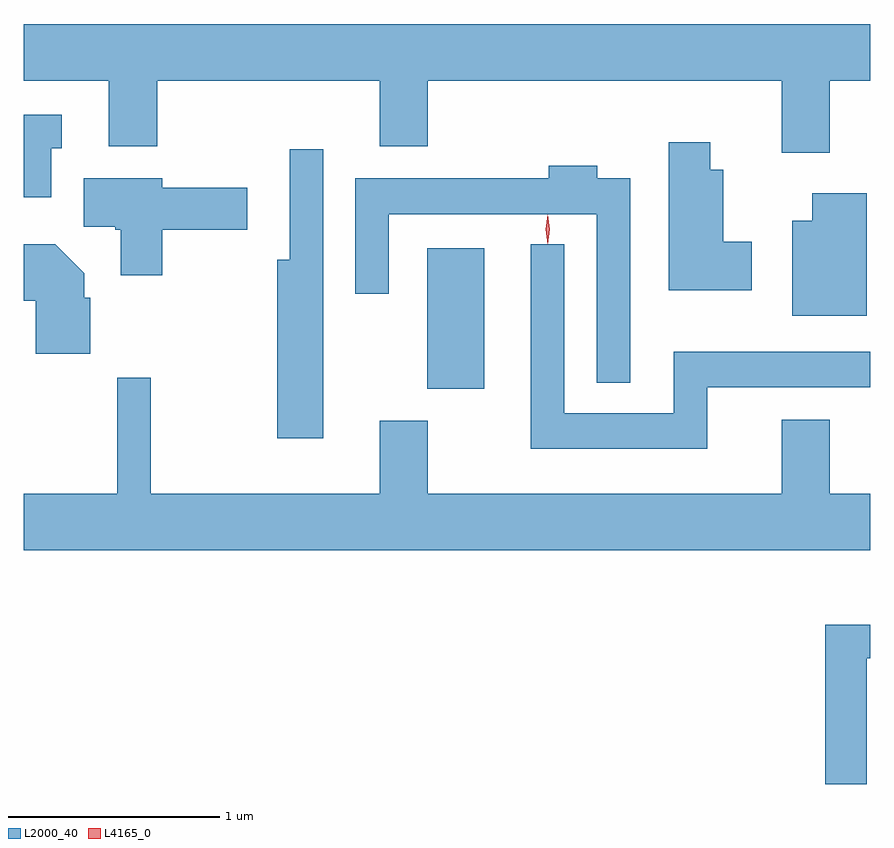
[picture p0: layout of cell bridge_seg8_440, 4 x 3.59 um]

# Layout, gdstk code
import gdstk
lib = gdstk.Library(unit=1e-6, precision=1e-09)
def R(c, l, rs):  # rectangles x0, y0, x1, y1
    for r in rs: c.add(gdstk.rectangle(r[:2], r[2:], *l))
def P(c, l, *ps):  # polygons
    for p in ps: c.add(gdstk.Polygon(p, *l))
L2000_40 = (2000, 40)
L4165_0 = (4165, 0)

bridge_seg8_440 = lib.new_cell('bridge_seg8_440')
R(bridge_seg8_440, L2000_40, [(977.466,1826.081,977.734,1826.744)])
P(bridge_seg8_440, L2000_40, [(979.369,1827.536),(979.559,1827.536),(979.559,1827.804),(975.559,1827.804),(975.559,1827.536),(975.961,1827.536),(975.961,1827.226),(976.189,1827.226),(976.189,1827.536),(977.241,1827.536),(977.241,1827.226),(977.469,1827.226),(977.469,1827.536),(979.141,1827.536),(979.141,1827.196),(979.369,1827.196)],
  [(975.689,1827.216),(975.738,1827.216),(975.738,1827.374),(975.559,1827.374),(975.559,1826.986),(975.689,1826.986)],
  [(978.999,1826.774),(978.864,1826.774),(978.864,1827.114),(978.804,1827.114),(978.804,1827.244),(978.606,1827.244),(978.606,1826.546),(978.999,1826.546)],
  [(976.974,1827.213),(976.816,1827.213),(976.816,1826.689),(976.756,1826.689),(976.756,1825.846),(976.974,1825.846)],
  [(978.424,1827.074),(978.269,1827.074),(978.269,1827.134),(978.041,1827.134),(978.041,1827.074),(977.126,1827.074),(977.126,1826.528),(977.284,1826.528),(977.284,1826.906),(978.266,1826.906),(978.266,1826.108),(978.424,1826.108)],
  [(976.214,1826.831),(976.614,1826.831),(976.614,1827.029),(976.214,1827.029),(976.214,1827.074),(975.841,1827.074),(975.841,1826.846),(975.99,1826.846),(975.99,1826.831),(976.016,1826.831),(976.016,1826.616),(976.214,1826.616)],
  [(979.544,1827.004),(979.286,1827.004),(979.286,1826.874),(979.191,1826.874),(979.191,1826.426),(979.544,1826.426)],
  [(975.874,1826.509),(975.844,1826.509),(975.844,1826.627),(975.707,1826.764),(975.559,1826.764),(975.559,1826.496),(975.616,1826.496),(975.616,1826.246),(975.874,1826.246)],
  [(978.789,1826.086),(979.559,1826.086),(979.559,1826.254),(978.631,1826.254),(978.631,1825.964),(978.114,1825.964),(978.114,1826.763),(977.956,1826.763),(977.956,1825.796),(978.789,1825.796)],
  [(979.559,1825.584),(979.369,1825.584),(979.369,1825.934),(979.141,1825.934),(979.141,1825.584),(977.469,1825.584),(977.469,1825.929),(977.241,1825.929),(977.241,1825.584),(976.159,1825.584),(976.159,1826.133),(976.001,1826.133),(976.001,1825.584),(975.559,1825.584),(975.559,1825.316),(979.559,1825.316)],
  [(979.544,1824.806),(979.559,1824.806),(979.559,1824.964),(979.346,1824.964),(979.346,1824.212),(979.544,1824.212)])
P(bridge_seg8_440, L4165_0, [(978.034,1826.764),(978.025,1826.833),(978.034,1826.902),(978.035,1826.903),(978.035,1826.902),(978.045,1826.833),(978.035,1826.764),(978.035,1826.764)],
  [(978.034,1826.767),(978.025,1826.834),(978.034,1826.9),(978.035,1826.9),(978.036,1826.9),(978.045,1826.834),(978.036,1826.767),(978.035,1826.767)])

lib.write_gds('bridge_seg8_440.gds')
